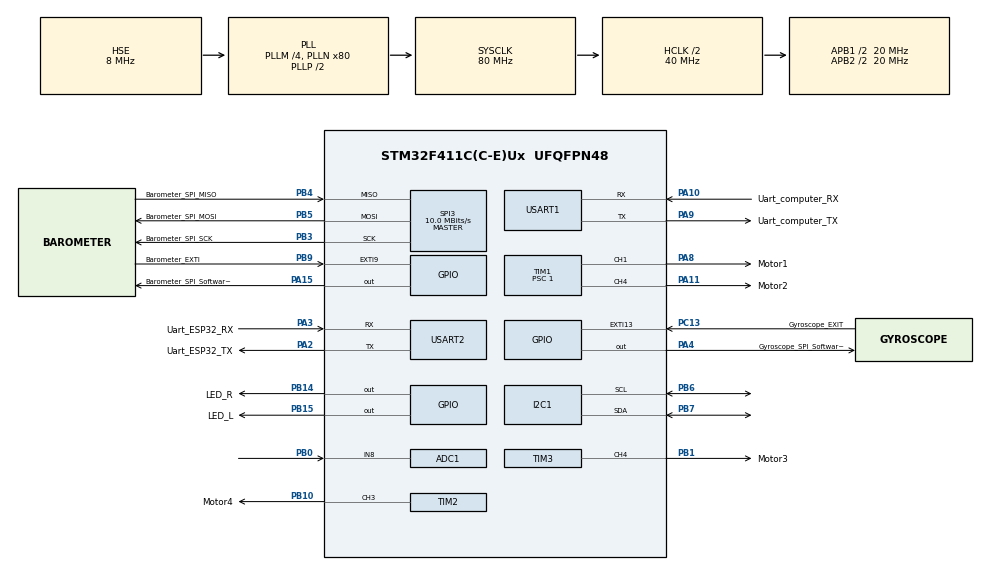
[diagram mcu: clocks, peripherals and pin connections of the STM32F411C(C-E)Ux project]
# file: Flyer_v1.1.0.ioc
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ADC1.Channel-0\#ChannelRegularConversion=ADC_CHANNEL_8
ADC1.NbrOfConversionFlag=1
ADC1.Rank-0\#ChannelRegularConversion=1
ADC1.SamplingTime-0\#ChannelRegularConversion=ADC_SAMPLETIME_3CYCLES
ADC1.master=1
Dma.Request0=USART1_TX
Dma.Request1=USART2_RX
Dma.Request2=USART2_TX
Dma.USART1_TX.0.Direction=DMA_MEMORY_TO_PERIPH
Dma.USART1_TX.0.FIFOMode=DMA_FIFOMODE_ENABLE
Dma.USART1_TX.0.FIFOThreshold=DMA_FIFO_THRESHOLD_FULL
Dma.USART1_TX.0.Instance=DMA2_Stream7
Dma.USART1_TX.0.MemBurst=DMA_MBURST_SINGLE
Dma.USART1_TX.0.MemDataAlignment=DMA_MDATAALIGN_BYTE
Dma.USART1_TX.0.MemInc=DMA_MINC_ENABLE
Dma.USART1_TX.0.Mode=DMA_NORMAL
Dma.USART1_TX.0.PeriphBurst=DMA_PBURST_SINGLE
Dma.USART1_TX.0.PeriphDataAlignment=DMA_PDATAALIGN_BYTE
Dma.USART1_TX.0.PeriphInc=DMA_PINC_DISABLE
Dma.USART1_TX.0.Priority=DMA_PRIORITY_LOW
Dma.USART2_RX.1.Direction=DMA_PERIPH_TO_MEMORY
Dma.USART2_RX.1.FIFOMode=DMA_FIFOMODE_DISABLE
Dma.USART2_RX.1.Instance=DMA1_Stream5
Dma.USART2_RX.1.MemDataAlignment=DMA_MDATAALIGN_BYTE
Dma.USART2_RX.1.MemInc=DMA_MINC_ENABLE
Dma.USART2_RX.1.Mode=DMA_CIRCULAR
Dma.USART2_RX.1.PeriphDataAlignment=DMA_PDATAALIGN_BYTE
Dma.USART2_RX.1.PeriphInc=DMA_PINC_DISABLE
Dma.USART2_RX.1.Priority=DMA_PRIORITY_HIGH
Dma.USART2_TX.2.Direction=DMA_MEMORY_TO_PERIPH
Dma.USART2_TX.2.FIFOMode=DMA_FIFOMODE_ENABLE
Dma.USART2_TX.2.FIFOThreshold=DMA_FIFO_THRESHOLD_HALFFULL
Dma.USART2_TX.2.Instance=DMA1_Stream6
Dma.USART2_TX.2.MemBurst=DMA_MBURST_SINGLE
Dma.USART2_TX.2.MemDataAlignment=DMA_MDATAALIGN_BYTE
Dma.USART2_TX.2.MemInc=DMA_MINC_ENABLE
Dma.USART2_TX.2.Mode=DMA_NORMAL
Dma.USART2_TX.2.PeriphBurst=DMA_PBURST_SINGLE
Dma.USART2_TX.2.PeriphDataAlignment=DMA_PDATAALIGN_BYTE
Dma.USART2_TX.2.PeriphInc=DMA_PINC_DISABLE
Dma.USART2_TX.2.Priority=DMA_PRIORITY_LOW
FREERTOS.Tasks01=POSTURE,24,400,posture_task,Default,NULL,Dynamic,NULL,NULL;SENSOR,24,450,sensor_task,Default,NULL,Dynamic,NULL,NULL;ESP32_RX,8,256,esp32_rx_task,Default,NULL,Dynamic,NULL,NULL;ESP32_TX,8,256,esp32_tx_task,Default,NULL,Dynamic,NULL,NULL
FREERTOS.configENABLE_FPU=1
Mcu.Family=STM32F4
Mcu.Name=STM32F411C(C-E)Ux
Mcu.Package=UFQFPN48
NVIC.DMA1_Stream5_IRQn=true\:5\:0\:false\:false\:true\:true\:false\:true\:true
NVIC.DMA1_Stream6_IRQn=true\:5\:0\:false\:false\:true\:true\:false\:true\:true
NVIC.DMA2_Stream7_IRQn=true\:5\:0\:false\:false\:true\:true\:false\:true\:true
NVIC.PriorityGroup=NVIC_PRIORITYGROUP_4
NVIC.TIM1_UP_TIM10_IRQn=true\:15\:0\:false\:false\:true\:false\:false\:true\:true
NVIC.TimeBase=TIM1_UP_TIM10_IRQn
NVIC.TimeBaseIP=TIM10
NVIC.USART1_IRQn=true\:5\:0\:false\:false\:true\:true\:true\:true\:true
NVIC.USART2_IRQn=true\:5\:0\:false\:false\:true\:true\:true\:true\:true
PA10.GPIO_Label=Uart_computer_RX
PA10.Mode=Asynchronous
PA10.Signal=USART1_RX
PA11.GPIO_Label=Motor2
PA11.Signal=S_TIM1_CH4
PA13.Mode=Serial_Wire
PA13.Signal=SYS_JTMS-SWDIO
PA14.Mode=Serial_Wire
PA14.Signal=SYS_JTCK-SWCLK
PA15.GPIO_Label=Barometer_SPI_Software_NSS
PA15.Signal=GPIO_Output
PA2.GPIO_Label=Uart_ESP32_TX
PA2.Mode=Asynchronous
PA2.Signal=USART2_TX
PA3.GPIO_Label=Uart_ESP32_RX
PA3.Mode=Asynchronous
PA3.Signal=USART2_RX
PA4.GPIO_Label=Gyroscope_SPI_Software_NSS
PA4.Signal=GPIO_Output
PA8.GPIO_Label=Motor1
PA8.GPIO_Speed=GPIO_SPEED_FREQ_HIGH
PA8.Signal=S_TIM1_CH1
PA9.GPIO_Label=Uart_computer_TX
PA9.Mode=Asynchronous
PA9.Signal=USART1_TX
PB0.Signal=ADCx_IN8
PB1.GPIO_Label=Motor3
PB1.Signal=S_TIM3_CH4
PB10.GPIO_Label=Motor4
PB10.Signal=S_TIM2_CH3
PB14.GPIO_Label=LED_R
PB14.PinState=GPIO_PIN_SET
PB14.Signal=GPIO_Output
PB15.GPIO_Label=LED_L
PB15.PinState=GPIO_PIN_SET
PB15.Signal=GPIO_Output
PB3.GPIO_Label=Barometer_SPI_SCK
PB3.Mode=Full_Duplex_Master
PB3.Signal=SPI3_SCK
PB4.GPIO_Label=Barometer_SPI_MISO
PB4.Mode=Full_Duplex_Master
PB4.Signal=SPI3_MISO
PB5.GPIO_Label=Barometer_SPI_MOSI
PB5.Mode=Full_Duplex_Master
PB5.Signal=SPI3_MOSI
PB6.Mode=I2C
PB6.Signal=I2C1_SCL
PB7.Mode=I2C
PB7.Signal=I2C1_SDA
PB9.GPIO_Label=Barometer_EXTI
PB9.Signal=GPXTI9
PC13-ANTI_TAMP.GPIO_Label=Gyroscope_EXIT
PC13-ANTI_TAMP.Signal=GPXTI13
PH0\ -\ OSC_IN.Mode=HSE-External-Oscillator
PH0\ -\ OSC_IN.Signal=RCC_OSC_IN
PH1\ -\ OSC_OUT.Mode=HSE-External-Oscillator
PH1\ -\ OSC_OUT.Signal=RCC_OSC_OUT
ProjectManager.HeapSize=0x200
ProjectManager.StackSize=0x400
ProjectManager.TargetToolchain=MDK-ARM V5.32
RCC.48MHZClocksFreq_Value=40000000
RCC.AHBCLKDivider=RCC_SYSCLK_DIV2
RCC.AHBFreq_Value=40000000
RCC.APB1CLKDivider=RCC_HCLK_DIV2
RCC.APB1Freq_Value=20000000
RCC.APB1TimFreq_Value=40000000
RCC.APB2CLKDivider=RCC_HCLK_DIV2
RCC.APB2Freq_Value=20000000
RCC.APB2TimFreq_Value=40000000
RCC.CortexFreq_Value=40000000
RCC.HCLKFreq_Value=40000000
RCC.HSE_VALUE=8000000
RCC.HSI_VALUE=16000000
RCC.LSE_VALUE=32768
RCC.PLLM=4
RCC.PLLN=80
RCC.PLLSourceVirtual=RCC_PLLSOURCE_HSE
RCC.SYSCLKFreq_VALUE=80000000
RCC.SYSCLKSource=RCC_SYSCLKSOURCE_PLLCLK
RCC.VCOOutputFreq_Value=160000000
SH.ADCx_IN8.0=ADC1_IN8,IN8
SH.S_TIM1_CH1.0=TIM1_CH1,PWM Generation1 CH1
SH.S_TIM1_CH4.0=TIM1_CH4,PWM Generation4 CH4
SH.S_TIM2_CH3.0=TIM2_CH3,PWM Generation3 CH3
SH.S_TIM3_CH4.0=TIM3_CH4,PWM Generation4 CH4
SPI3.CalculateBaudRate=10.0 MBits/s
SPI3.Direction=SPI_DIRECTION_2LINES
SPI3.Mode=SPI_MODE_MASTER
SPI3.VirtualType=VM_MASTER
TIM1.Channel-PWM\ Generation1\ CH1=TIM_CHANNEL_1
TIM1.Channel-PWM\ Generation4\ CH4=TIM_CHANNEL_4
TIM1.Period=999
TIM1.Prescaler=1
TIM2.AutoReloadPreload=TIM_AUTORELOAD_PRELOAD_ENABLE
TIM2.Channel-PWM\ Generation3\ CH3=TIM_CHANNEL_3
TIM2.Period=999
TIM2.Prescaler=1
TIM3.AutoReloadPreload=TIM_AUTORELOAD_PRELOAD_ENABLE
TIM3.Channel-PWM\ Generation4\ CH4=TIM_CHANNEL_4
TIM3.Period=999
TIM3.Prescaler=1
USART1.VirtualMode=VM_ASYNC
USART2.VirtualMode=VM_ASYNC
VP_FREERTOS_VS_CMSIS_V2.Mode=CMSIS_V2
VP_SYS_VS_tim10.Mode=TIM10
VP_TIM1_VS_ClockSourceINT.Mode=Internal
VP_TIM2_VS_ClockSourceINT.Mode=Internal
VP_TIM3_VS_ClockSourceINT.Mode=Internal
board=custom

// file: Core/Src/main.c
/* USER CODE BEGIN Header */
/**
  ******************************************************************************
  * @file           : main.c
  * @brief          : Main program body
  ******************************************************************************
  * @attention
  *
  * Copyright (c) 2025 STMicroelectronics.
  * All rights reserved.
  *
  * This software is licensed under terms that can be found in the LICENSE file
  * in the root directory of this software component.
  * If no LICENSE file comes with this software, it is provided AS-IS.
  *
  ******************************************************************************
  */
/* USER CODE END Header */
#include "main.h"
#include "cmsis_os.h"
#include "adc.h"
#include "dma.h"
#include "i2c.h"
#include "spi.h"
#include "tim.h"
#include "usart.h"
#include "gpio.h"

/* USER CODE BEGIN Includes */
#include "stdio.h"
#include "ICM42688.h"
#include "QMC5883P.h"
#include "LPS22HBTR.h"
#include "AHRS_Mahony.h"
#include "system_params.h"
/* USER CODE END Includes */

/* USER CODE BEGIN PTD */
//宏定义、常量、类型定义
extern UART_HandleTypeDef huart1;
extern lps22hb_t g_lps;
/* USER CODE END PTD */

void SystemClock_Config(void);
void MX_FREERTOS_Init(void);
/* USER CODE BEGIN PFP */
// 后期不需要测试可以删除
static inline HAL_StatusTypeDef ICM_SPI_Xfer(uint8_t *tx, uint8_t *rx, uint16_t len, uint32_t to_ms)
{

    return HAL_SPI_TransmitReceive(&hspi3, tx, rx, len, to_ms);
}
uint8_t SPI_Read_8BIT(uint8_t reg_address, uint8_t* read8bit)
{
    HAL_StatusTypeDef icm_err;
    uint8_t tx_buf[2] = { reg_address | 0x80, 0x00 };
    uint8_t rx_buf[2] = {0};
    HAL_GPIO_WritePin(Barometer_SPI_Software_NSS_GPIO_Port, Barometer_SPI_Software_NSS_Pin, GPIO_PIN_RESET);
    icm_err = ICM_SPI_Xfer(tx_buf, rx_buf, 2, 500);
    HAL_GPIO_WritePin(Barometer_SPI_Software_NSS_GPIO_Port, Barometer_SPI_Software_NSS_Pin, GPIO_PIN_SET);
    if (icm_err != HAL_OK) return 0;
    *read8bit = rx_buf[1];
    return 1;
}
/* USER CODE END PFP */

int main(void)
{

  /* USER CODE BEGIN 1 */
	/* git同步冲突测试点2 */

  /* USER CODE END 1 */
  /* MCU Configuration--------------------------------------------------------*/
  /* Reset of all peripherals, Initializes the Flash interface and the Systick. */
  HAL_Init();

  /* Configure the system clock */
  SystemClock_Config();

  /* Initialize all configured peripherals */
  MX_GPIO_Init();
  MX_DMA_Init();
  MX_ADC1_Init();
  MX_I2C1_Init();
  MX_SPI3_Init();
  MX_USART1_UART_Init();
  MX_USART2_UART_Init();
  MX_TIM1_Init();
  MX_TIM2_Init();
  MX_TIM3_Init();

  /* USER CODE BEGIN 2 */
  usart2_dma_rx_start();	           // 开启DMA 接收中断

  // 读取三个传感器 WHO_AM I 并通过串口输出
  {
    uint8_t id;
    HAL_StatusTypeDef status;

    printf("\r\n===== Sensor WHO_AM_I Check =====\r\n");

    // ICM42688-P (I2C1, addr 0x69)
    ICM_BANK_SWITCH(ICM42688_BANK_SEL_0);
    id = ICM42688_Read_WhoAmI();
    printf("ICM42688-P WHO_AM_I: 0x%02X (expect 0x47) %s\r\n",
           id, (id == 0x47) ? "[OK]" : "[FAIL]");

    // LPS22HBTR/LPS22HH (SPI3)
    status = LPS22HB_ReadWhoAmI(&g_lps, &id);
    if (status == HAL_OK) {
      printf("LPS22HB   WHO_AM_I: 0x%02X (expect 0xB1/0xB3) %s\r\n",
             id, (id == 0xB1 || id == 0xB3) ? "[OK]" : "[FAIL]");
    } else {
      printf("LPS22HB   WHO_AM_I: SPI read failed!\r\n");
    }

    // QMC5883P (I2C1, addr 0x2C)
    if (QMC_ReadChipID(&id) == QMC_OK) {
      printf("QMC5883P  CHIP_ID:  0x%02X (expect 0x80) %s\r\n",
             id, (id == 0x80) ? "[OK]" : "[FAIL]");
    } else {
      printf("QMC5883P  CHIP_ID:  I2C read failed!\r\n");
    }

    printf("==================================\r\n\r\n");
  }

  ICM42688_init();                     // 初始化陀螺仪
  QMC_Init();                          // 初始化磁力计
  Baro_Init();                         // 初始化气压计
  mahony_ahrs_init(2.0f, 0.01f);    // 初始化Mahony AHRS (Kp=2.0, Ki=0.01) - 优化参数
  mahony_set_params(2.0f, 0.01f, 2.0f);  // Kp=2.0, Ki=0.01, Kp_mag=2.0（强磁力计修正）
  /* USER CODE BEGIN 2 */
  {
    QMC5883P_Full_Calibration_t calib = {
      {34.50f, 445.00f, -12.00f},
      {
        {1.1112f, 0.0f, 0.0f},
        {0.0f, 1.0611f, 0.0f},
        {0.0f, 0.0f, 0.8638f}
      },
      1,
      1
    };
    QMC_Set_Full_Calibration(&calib);
  }
  /* USER CODE END 2 */
  motor_all_start();                   //初始化四个电机

#if defined(UART1_SMOKE_TEST) && (UART1_SMOKE_TEST == 1)
  {
    static const uint8_t uart1_smoke_msg[] = "UART1 smoke test 460800\r\n";
    while (1)
    {
      HAL_UART_Transmit(&huart1, (uint8_t *)uart1_smoke_msg, sizeof(uart1_smoke_msg) - 1U, 1000);
      HAL_Delay(500);
    }
  }
#endif

  /* USER CODE END 2 */
  /* Init scheduler */
  osKernelInitialize();  /* Call init function for freertos objects (in cmsis_os2.c) */
  MX_FREERTOS_Init();
  /* Start scheduler */
  osKernelStart();
  /* We should never get here as control is now taken by the scheduler */
  /* Infinite loop */
  while (1)
  {

  }
}

void SystemClock_Config(void)
{
  RCC_OscInitTypeDef RCC_OscInitStruct = {0};
  RCC_ClkInitTypeDef RCC_ClkInitStruct = {0};

  /** Configure the main internal regulator output voltage
  */
  __HAL_RCC_PWR_CLK_ENABLE();
  __HAL_PWR_VOLTAGESCALING_CONFIG(PWR_REGULATOR_VOLTAGE_SCALE1);

  /** Initializes the RCC Oscillators according to the specified parameters
  * in the RCC_OscInitTypeDef structure.
  */
  RCC_OscInitStruct.OscillatorType = RCC_OSCILLATORTYPE_HSE;
  RCC_OscInitStruct.HSEState = RCC_HSE_ON;
  RCC_OscInitStruct.PLL.PLLState = RCC_PLL_ON;
  RCC_OscInitStruct.PLL.PLLSource = RCC_PLLSOURCE_HSE;
  RCC_OscInitStruct.PLL.PLLM = 4;
  RCC_OscInitStruct.PLL.PLLN = 80;
  RCC_OscInitStruct.PLL.PLLP = RCC_PLLP_DIV2;
  RCC_OscInitStruct.PLL.PLLQ = 4;
  if (HAL_RCC_OscConfig(&RCC_OscInitStruct) != HAL_OK)
  {
    Error_Handler();
  }

  /** Initializes the CPU, AHB and APB buses clocks
  */
  RCC_ClkInitStruct.ClockType = RCC_CLOCKTYPE_HCLK|RCC_CLOCKTYPE_SYSCLK
                              |RCC_CLOCKTYPE_PCLK1|RCC_CLOCKTYPE_PCLK2;
  RCC_ClkInitStruct.SYSCLKSource = RCC_SYSCLKSOURCE_PLLCLK;
  RCC_ClkInitStruct.AHBCLKDivider = RCC_SYSCLK_DIV2;
  RCC_ClkInitStruct.APB1CLKDivider = RCC_HCLK_DIV2;
  RCC_ClkInitStruct.APB2CLKDivider = RCC_HCLK_DIV2;

  if (HAL_RCC_ClockConfig(&RCC_ClkInitStruct, FLASH_LATENCY_1) != HAL_OK)
  {
    Error_Handler();
  }
}

/* USER CODE BEGIN 4 */
void mag_pure_yaw_test(void)
{
    QMC5883P_Raw_Data_t raw_data, cal_data;
    float yaw_deg;
    float mag_strength_raw, mag_strength_cal;
    uint32_t last_print_time = 0;

    printf("\r\n");
    printf("===============================================\r\n");
    printf("        纯磁力计Yaw角测试\r\n");
    printf("===============================================\r\n\r\n");

    printf("测试说明：\r\n");
    printf("  - 只使用磁力计X/Y轴计算Yaw角\r\n");
    printf("  - 飞机保持水平，缓慢旋转360度\r\n");
    printf("  - 观察Yaw角是否平滑变化0~360度\r\n");
    printf("  - 按复位键退出测试\r\n\r\n");

    printf("开始测试...\r\n");
    printf("━━━━━━━━━━━━━━━━━━━━━━━━━━━━━━━━━━━━━━━━━━━━\r\n\r\n");

    HAL_Delay(1000);

    // 无限循环测试
    for(;;) {
        // 读取磁力计数据
        if(QMC_Read_Raw_DATA(&raw_data) == QMC_OK) {
            QMC_Read_Full_Calibrated_DATA(&cal_data);

            // 计算原始和校准后的磁场强度
            mag_strength_raw = sqrtf(raw_data.X * raw_data.X +
                                     raw_data.Y * raw_data.Y +
                                     raw_data.Z * raw_data.Z) * 0.000244140625f;

            mag_strength_cal = sqrtf(cal_data.X * cal_data.X +
                                     cal_data.Y * cal_data.Y +
                                     cal_data.Z * cal_data.Z) * 0.000244140625f;

            // 将磁力计数据转换到机体系（机体X←-MAG.Y，机体Y←MAG.X）
            float mag_x_body = (float)cal_data.X;
            float mag_y_body = -(float)cal_data.Y;

            // 使用机体系的X/Y计算Yaw角（水平面内的方位角）
            yaw_deg = atan2f(mag_y_body, mag_x_body) * 57.2957795f;  // rad to deg

            // 归一化到0~360度
            if(yaw_deg < 0.0f) {
                yaw_deg += 360.0f;
            }

            // 每200ms打印一次
            uint32_t current_time = HAL_GetTick();
            if((current_time - last_print_time) >= 200) {
                printf("原始: [%5d, %5d, %5d] %.3f G | ",
                       raw_data.X, raw_data.Y, raw_data.Z, mag_strength_raw);
                printf("校准: [%5d, %5d, %5d] %.3f G | ",
                       cal_data.X, cal_data.Y, cal_data.Z, mag_strength_cal);
                printf("Yaw: %6.1f°", yaw_deg);

                // 质量指示
                if(mag_strength_cal < 0.25f) {
                    printf(" [!] 磁场太弱");
                } else if(mag_strength_cal > 0.65f) {
                    printf(" [!] 磁场太强");
                } else {
                    printf(" [OK]");
                }

                printf("\r\n");
                last_print_time = current_time;
            }
        }

        HAL_Delay(10);
    }
}

/* USER CODE END 4 */

void HAL_TIM_PeriodElapsedCallback(TIM_HandleTypeDef *htim)
{
  if (htim->Instance == TIM10)
  {
    HAL_IncTick();
  }
}

void Error_Handler(void)
{
  __disable_irq();
  while (1)
  {
  }
}

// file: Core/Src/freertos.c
/* USER CODE BEGIN Header */
/* USER CODE END Header */

#include "FreeRTOS.h"
#include "task.h"
#include "main.h"
#include "cmsis_os.h"
/* USER CODE BEGIN Includes */
#include <cmsis_os2.h>  // 添加CMSIS-RTOS2头文件
#include "IMUsolution.h"
#include "ICM42688.h"
#include "QMC5883P.h"
#include "AHRS_Mahony.h"
#include "usart.h"
#include "dma.h"
#include "pid.h"
#include "system_params.h"
#include "filter.h"  // 低通滤波器
#include "string.h"
#include "stdio.h"
#include "stdint.h"
#include "math.h"
#include "tim.h"
/* USER CODE END Includes */

/* -------------------------------------Private typedef ---------------------------------------------------*/
/* USER CODE BEGIN PTD */
//宏定义、常量、类型定义
typedef struct                   // 定义传感器数据结构体（修正字段名）
{
    ICM42688_Raw_Data_t icm;     // 加速度计和陀螺仪数据
    QMC5883P_Raw_Data_t qmc;     // 磁力计数据
    int32_t Pressure;            // 气压计数据
} sensor_data_t;

extern system_params_t g_system_params;
extern CascadedPIDParams g_runtime_pid ;
extern UART_HandleTypeDef huart2;
extern UART_HandleTypeDef huart1;  // VOFA+使用UART1
extern uint8_t USART1_DMA_TX_ready;
// extern ring_queue_t queue_rx;   //不再使用它了
extern uint8_t dma_rx_buf[DMA_RX_BUF_SIZE];
extern CommandList cmd_table[CommandList_MAX];
/* USER CODE END PTD */

/* USER CODE BEGIN PD */
//变量声明、函数原型声明
float pitch, row, yaw;
uint32_t err_times = 0;
HAL_UART_StateTypeDef uart_status;
/* USER CODE END PD */

/* USER CODE BEGIN PM */
#define QUICK_TEST 0
#define PWM_MIN   0
#define PWM_MAX   999 //根据真实PWM周期改这个范围（ARR=999, 0-999全量程）
/* USER CODE END PM */

/* USER CODE BEGIN Variables */
ICM42688_Raw_Data_t icm_raw_data;
QMC5883P_Raw_Data_t qmc_raw_data;
// PID 闭环状态
attitude_data_t g_attitude_data = {0};
volatile attitude_data_t g_attitude = {0};
AxisCascadedState_t g_pid_state = {0};
/* USER CODE END Variables */
/* Definitions for POSTURE */
/* osThreadAttr_t 结构体和 osPriority_t 枚举属于 CMSIS-RTOS2 标准接口 */
osThreadId_t POSTUREHandle;
const osThreadAttr_t POSTURE_attributes = {
  .name = "POSTURE",
  .stack_size = 400 * 4,
  .priority = (osPriority_t) osPriorityNormal,
};
/* Definitions for SENSOR */
osThreadId_t SENSORHandle;											  //声明了一个任务句柄变量，用于后续操作该任务（例如启动、挂起、删除任务）。
const osThreadAttr_t SENSOR_attributes =                              //定义了任务的属性结构体，包含以下关键配置
	{
  .name = "SENSOR",                                                   //任务名称标识
  .stack_size = 450 * 4,
  .priority = (osPriority_t) osPriorityNormal,
};
/* Definitions for ESP32_RX */
osThreadId_t ESP32_RXHandle;
const osThreadAttr_t ESP32_RX_attributes = {
  .name = "ESP32_RX",
  .stack_size = 256 * 4,
  .priority = (osPriority_t) osPriorityNormal ,
};
/* Definitions for ESP32_TX */
osThreadId_t ESP32_TXHandle;
const osThreadAttr_t ESP32_TX_attributes = {
  .name = "ESP32_TX",
  .stack_size = 256 * 4,
  .priority = (osPriority_t) osPriorityLow,
};

osThreadId_t PID_UpdateHandle;
const osThreadAttr_t PID_Update_attributes = {
  .name       = "PID_Update",
  .stack_size = 512 * 4,                    // 2KB 避免栈溢出
  .priority   = (osPriority_t)osPriorityLow // 和 ESP32_RX 差不多就行
};

osThreadId_t MANEUVERHandle;
const osThreadAttr_t MANEUVER_attributes = {
  .name = "MANEUVER",
  .stack_size = 640 * 4,              // 200Hz 内外环分频需要更多局部变量
  .priority = (osPriority_t)osPriorityAboveNormal,  // 控制输出建议略高于RX/PID保存
};
/* USER CODE BEGIN FunctionPrototypes */
// 全局tx消息队列
osMessageQueueId_t g_txQueueHandle;
const osMessageQueueAttr_t g_txQueue_attributes = {
  .name = "globle_tx"
};

osMessageQueueId_t g_rxQueueHandle;
const osMessageQueueAttr_t g_rxQueue_attributes = {
  .name = "globle_rx"
};

osMessageQueueId_t joystickQueueHandle;
const osMessageQueueAttr_t joystickQueue_attributes = {
  .name = "joystick"
};

// 全局传感器数据队列句柄
osMessageQueueId_t sensorQueueHandle;
const osMessageQueueAttr_t sensorQueue_attributes = {
    .name = "sensor_data_queue"
};

osMessageQueueId_t pidUpdateQueueHandle;             //用于PID参数的更新
const osMessageQueueAttr_t pidUpdateQueue_attributes = {
  .name = "pid_update"
};

osMessageQueueId_t rcCmdQueueHandle;
const osMessageQueueAttr_t rcCmdQueue_attributes = {
  .name = "rc_cmd"
};

/* USER CODE END FunctionPrototypes */

void posture_task(void *argument);
void sensor_task(void *argument);
void esp32_rx_task(void *argument);
void esp32_tx_task(void *argument);
void pid_update_task(void *argument);
void maneuver_task(void *argument);
void MX_FREERTOS_Init(void); /* (MISRA C 2004 rule 8.1) */

static inline uint16_t pwm_from_01(float t01)
{
  if (t01 < 0) t01 = 0;
  if (t01 > 1) t01 = 1;
  return (uint16_t)(PWM_MIN + t01 * (PWM_MAX - PWM_MIN));
}

void MX_FREERTOS_Init(void)
{
  /* USER CODE BEGIN Init */
  SystemParams_Init();
  PID_LoadFromParams();
  /* USER CODE END Init */
  /* USER CODE BEGIN RTOS_QUEUES */
  /* add queues, ... */
  g_txQueueHandle = osMessageQueueNew (32, sizeof(g_msg_t),
	  &g_txQueue_attributes);
  g_rxQueueHandle = osMessageQueueNew (32, sizeof(g_msg_t),
	  &g_rxQueue_attributes);
  //joystickQueueHandle = osMessageQueueNew(16, sizeof(joystick_t), &g_rxQueue_attributes);
  joystickQueueHandle = osMessageQueueNew(16, sizeof(joystick_t),
	  &joystickQueue_attributes);
  sensorQueueHandle = osMessageQueueNew(10, sizeof(sensor_data_t),
	  &sensorQueue_attributes); // 创建全局传感器数据队列
  pidUpdateQueueHandle = osMessageQueueNew(6, sizeof(pid_update_msg_t),
	  &pidUpdateQueue_attributes);
  rcCmdQueueHandle = osMessageQueueNew(8, sizeof(rc_cmd_t),
	  &rcCmdQueue_attributes);//遥控是“最新值覆盖旧值”的典型场景，没必要堆很多深度

	/* USER CODE END RTOS_QUEUES */
  /* Create the thread(s) */
  /* creation of POSTURE */
  POSTUREHandle = osThreadNew(posture_task, NULL, &POSTURE_attributes);
  /* creation of SENSOR */
  SENSORHandle = osThreadNew(sensor_task, NULL, &SENSOR_attributes);
  /* creation of ESP32_RX */
  ESP32_RXHandle = osThreadNew(esp32_rx_task, NULL, &ESP32_RX_attributes);
  /* creation of ESP32_TX */
//  ESP32_TXHandle = osThreadNew(esp32_tx_task, NULL, &ESP32_TX_attributes);
  /* USER CODE BEGIN RTOS_THREADS */
  /* add threads, ... */
  PID_UpdateHandle = osThreadNew(pid_update_task, NULL, &PID_Update_attributes);
  /* USER CODE END RTOS_THREADS */

  /* USER CODE BEGIN RTOS_EVENTS */
  /* add events, ... */
  MANEUVERHandle = osThreadNew(maneuver_task, NULL, &MANEUVER_attributes);
  /* USER CODE END RTOS_EVENTS */

}

/* USER CODE BEGIN Header_posture_task */
/**
 * @brief 用于更新——运行时该用什么样的PID参数呢？通过这个任务更新
 * @param
 * @param
 * @retval
*/
void pid_update_task(void *argument)
{
    pid_update_msg_t msg_from_queue;//消息结构体变量，用于接收从队列中获取的PID更新消息

    for (;;)/*所以，这个任务大部分时间是在“睡觉”的。 只有当你通过串口发 PID 参数、setXXXPIDparameter 往队列里塞了一条消息，它才会醒一次。*/
    {
        if (osMessageQueueGet(pidUpdateQueueHandle, &msg_from_queue, NULL, 10) == osOK)//从队列拿ESp32发来的新参数
        {
            // 1）更新运行时 PID
            AxisPID *runtime_pid = NULL;   // (里面是一个轴的六个增益)
            float   *flash_slot  = NULL;   // 指向 g_system_params 里对应位置

            switch (msg_from_queue.axis)//根据“这条消息是哪一个轴的”，把“待会需要修改的运行时 PID 地址”和“待会要写进 Flash 数组的起始地址”都计算出来。
            {
            case PID_AXIS_ROLL:
                runtime_pid = &g_runtime_pid.roll;//也就是说运行时PID先由这个g_runtime_pid提供，这有必要吗？g_system_params结构体不是已经有用于储存轴增益的数组了吗？
			    flash_slot  = &g_system_params.bank[PID_BANK_ROLL][0];//将flash_slot赋值为g_system_params结构体对应轴的增益数组初始位地址
                break;

            case PID_AXIS_PITCH:
                runtime_pid = &g_runtime_pid.pitch;
                flash_slot  =  &g_system_params.bank[PID_BANK_PITCH][0];
                break;

            case PID_AXIS_YAW:
                runtime_pid = &g_runtime_pid.yaw;
                flash_slot  = &g_system_params.bank[PID_BANK_YAW][0];
                break;

            default:
                break;
            }

            if (runtime_pid && flash_slot)/*如果上面的 switch 没有匹配到任何一个 case，两个指针会保持为 NULL；那肯定说明 msg.axis 是无效的值，继续下面的代码就会野指针；
                                           所以这里做了一层防御性检查：只要有一个为空，就直接跳过这次循环。*/
            {
                *runtime_pid = msg_from_queue.pid;						// 更新运行时 PID
                axisPID_to_bank_slot(flash_slot, &msg_from_queue.pid);  // 映射到 g_system_params 中（如果你有更直观的字段，这里改成赋值结构体即可）
                if (!SystemParams_Save())
                {
                    printf("[PID] SystemParams_Save FAILED!\r\n");
                }
                else
                {
                    printf("[PID] Updated axis=%d: "
                           "Ang(P=%.3f,I=%.3f,D=%.3f)  "
                           "Rate(P=%.3f,I=%.3f,D=%.3f)\r\n",
                           msg_from_queue.axis,
                           msg_from_queue.pid.kp_angle, msg_from_queue.pid.ki_angle, msg_from_queue.pid.kd_angle,
                           msg_from_queue.pid.kp_rate,  msg_from_queue.pid.ki_rate, msg_from_queue.pid.kd_rate);
                }
            }
        }
	//printf("p\r\n");
	//HAL_GPIO_TogglePin(GPIOB,GPIO_PIN_14);
	osDelay(10);
    }
}
/**
  * @brief  姿态解算
  * @param  argument: Not used
  * @retval None
  */
/* USER CODE END Header_posture_task */
void posture_task(void *argument)
{
  /* USER CODE BEGIN posture_task */
	sensor_data_t sensor_packet;
	float roll, pitch, yaw;  // 欧拉角

	printf("[POSTURE] Task started - AHRS enabled\r\n");
	mahony_set_sample_period(0.005f);  // 匹配实际 50Hz 调用频率

  /* Infinite loop */
  uint32_t wake_time = osKernelGetTickCount();
  for(;;)
  {
		// 从传感器队列获取滤波后的数据
		if(osMessageQueueGet(sensorQueueHandle, &sensor_packet, 0, 5) == osOK)
		{
			// ========== 调用Mahony AHRS进行姿态解算 ==========
			// 将完整ICM数据转换为AHRS需要的分离结构体
			ICM42688_Acc_Raw_Data_t acc_data = {
				.accel_x = sensor_packet.icm.accel_x,
				.accel_y = sensor_packet.icm.accel_y,
				.accel_z = sensor_packet.icm.accel_z
			};
			ICM42688_Gyro_Raw_Data_t gyro_data = {
				.gyro_x = sensor_packet.icm.gyro_x,
				.gyro_y = sensor_packet.icm.gyro_y,
				.gyro_z = sensor_packet.icm.gyro_z
			};

			// 调用AHRS更新（包含磁力计）
			mahony_ahrs_update_mag(&acc_data, &gyro_data, &sensor_packet.qmc);

			// 获取欧拉角
			mahony_get_euler(&roll, &pitch, &yaw);

			// 写入全局姿态数据供 PID 控制环使用
			sensor_check_data_t check;
			mahony_get_sensor_check_data(&check);
			g_attitude_data.euler[0] = roll;
			g_attitude_data.euler[1] = pitch;
			g_attitude_data.euler[2] = yaw;
			g_attitude_data.gyro_dps[0] = check.gyro_dps[0];  // roll 轴
			g_attitude_data.gyro_dps[1] = check.gyro_dps[1];  // pitch 轴
			g_attitude_data.gyro_dps[2] = check.gyro_dps[2];  // yaw 轴
			// 原子更新 volatile 全局变量
			__disable_irq();
			g_attitude = g_attitude_data;
			__enable_irq();

			// 输出姿态数据用于数据采集
			printf("ATT,%.3f,%.3f,%.3f,%.3f,%.3f,%.3f\r\n",
			       roll, pitch, yaw,
			       g_attitude_data.gyro_dps[0],
			       g_attitude_data.gyro_dps[1],
			       g_attitude_data.gyro_dps[2]);

			// ========== 原有代码（已注释，可选择性启用）==========
			#if 0
			// 使用传感器数据进行姿态解算（这里需要调用实际的姿态解算函数）
			// 示例：MahonyAHRSupdate(gyro, accel, mag);
			quat_moni.q0 =sensor_packet.icm.accel_x;
			quat_moni.q1 =sensor_packet.icm.accel_y;
			quat_moni.q2 =sensor_packet.icm.accel_z;
			quat_moni.q3 =sensor_packet.icm.gyro_x;
			quat_moni.q4 =sensor_packet.icm.gyro_y;
			quat_moni.q5=sensor_packet.icm.gyro_z;
			quat_moni.q6=sensor_packet.qmc.X;
			quat_moni.q7=sensor_packet.qmc.Y;
			quat_moni.q8=sensor_packet.qmc.Z;
			quat_moni.q9=sensor_packet.Pressure;
			char buffer[256];
            snprintf(buffer, sizeof(buffer), "icm.accel : %.3f,%.3f,%.3f,\r\n,icm.gyro : %.3f,%.3f,%.3f,\r\n,qmc : %.3f,%.3f,%.3f,\r\n Pre : %d\r\n",
                     quat_moni.q0, quat_moni.q1, quat_moni.q2, quat_moni.q3,quat_moni.q4,quat_moni.q5,quat_moni.q6,quat_moni.q7,quat_moni.q8,quat_moni.q9);
            HAL_UART_Transmit(&huart1, (uint8_t*)buffer, strlen(buffer), 100);
			HAL_UART_Transmit(&huart1,"posture_task\r\n",15,10);
			// 发送姿态数据到VOFA
			//g_tx_enqueue_raw(0x01, (uint8_t*)&quat, sizeof(quat));
			#endif
		}
		wake_time += 5;  // 200Hz period
		osDelayUntil(wake_time);
  }
  /* USER CODE END posture_task */
}

/* USER CODE BEGIN Header_sensor_task */
/**
* @brief 读取传感器数据
* @param argument: Not used
* @retval None
*/
/* USER CODE END Header_sensor_task */
void sensor_task(void *argument)
{
  /* USER CODE BEGIN sensor_task */
  /* Infinite loop */
	// 代码思路：	在sensor_task这个任务中读取传感器数据
	// 						然后通过消息队列去给不同的任务传递数据

	// ========== 初始化低通滤波器 ==========
	// 陀螺仪滤波器 (alpha=0.8, 快速响应)
	LowPassFilter_t gyro_x_filter, gyro_y_filter, gyro_z_filter;
	LowPassFilter_Init(&gyro_x_filter, 0.8f);
	LowPassFilter_Init(&gyro_y_filter, 0.8f);
	LowPassFilter_Init(&gyro_z_filter, 0.8f);

	// 加速度计滤波器 (alpha=0.5, 适中)
	LowPassFilter_t accel_x_filter, accel_y_filter, accel_z_filter;
	LowPassFilter_Init(&accel_x_filter, 0.5f);
	LowPassFilter_Init(&accel_y_filter, 0.5f);
	LowPassFilter_Init(&accel_z_filter, 0.5f);

	// 磁力计滤波器 (alpha=0.3, 适中)
	LowPassFilter_t mag_x_filter, mag_y_filter, mag_z_filter;
	LowPassFilter_Init(&mag_x_filter, 0.3f);
	LowPassFilter_Init(&mag_y_filter, 0.3f);
	LowPassFilter_Init(&mag_z_filter, 0.3f);

	printf("[SENSOR] 滤波器初始化完成\r\n");
	printf("[SENSOR] 陀螺仪滤波系数: %.2f\r\n", 0.8f);
	printf("[SENSOR] 加速度计滤波系数: %.2f\r\n", 0.5f);
	printf("[SENSOR] 磁力计滤波系数: %.2f\r\n", 0.3f);

  uint32_t wake_time = osKernelGetTickCount();
  for(;;)
  {
	// ========== 1. 读取ICM42688原始数据 ==========
	// ICM_GET_Average_Raw_data做了1次采样
	ICM_GET_Average_Raw_data(&icm_raw_data, 1);

	// ========== 2. 应用低通滤波 ==========
	// 陀螺仪滤波
	float gyro_x_filtered = LowPassFilter_Update(&gyro_x_filter,
		(float)icm_raw_data.gyro_x);
	float gyro_y_filtered = LowPassFilter_Update(&gyro_y_filter,
		(float)icm_raw_data.gyro_y);
	float gyro_z_filtered = LowPassFilter_Update(&gyro_z_filter,
		(float)icm_raw_data.gyro_z);

	// 加速度计滤波
	float accel_x_filtered = LowPassFilter_Update(&accel_x_filter,
		(float)icm_raw_data.accel_x);
	float accel_y_filtered = LowPassFilter_Update(&accel_y_filter,
		(float)icm_raw_data.accel_y);
	float accel_z_filtered = LowPassFilter_Update(&accel_z_filter,
		(float)icm_raw_data.accel_z);

	// ========== 3. 读取磁力计（使用完整校准） ==========
	// 优先使用完整校准函数（硬铁+软铁），如果没有校准则使用原始数据
	QMC_StatusTypeDef qmc_status = QMC_Read_Full_Calibrated_DATA(&qmc_raw_data);
	if(qmc_status != QMC_OK)
	{
		// 如果完整校准读取失败，尝试使用基础校准
		qmc_status = QMC_Read_Calibrated_Raw_DATA(&qmc_raw_data);
		if(qmc_status != QMC_OK)
		{
			// 如果基础校准也失败，使用原始数据
			QMC_Read_Raw_DATA(&qmc_raw_data);
		}
	}

	// 磁力计滤波
	float mag_x_filtered = LowPassFilter_Update(&mag_x_filter, (float)qmc_raw_data.X);
	float mag_y_filtered = LowPassFilter_Update(&mag_y_filter, (float)qmc_raw_data.Y);
	float mag_z_filtered = LowPassFilter_Update(&mag_z_filter, (float)qmc_raw_data.Z);

	// ========== 4. 打包滤波后的传感器数据 ==========

    sensor_data_t sensor_packet =
	{
        .icm = {
			.accel_x = (int16_t)accel_x_filtered,
			.accel_y = (int16_t)accel_y_filtered,
			.accel_z = (int16_t)accel_z_filtered,
			.gyro_x = (int16_t)gyro_x_filtered,
			.gyro_y = (int16_t)gyro_y_filtered,
			.gyro_z = (int16_t)gyro_z_filtered
		},
        .qmc = {
			.X = (int16_t)mag_x_filtered,
			.Y = (int16_t)mag_y_filtered,
			.Z = (int16_t)mag_z_filtered
		},
        .Pressure = 0
    };

    // ========== 5. 发送到传感器队列 ==========
    osMessageQueuePut(sensorQueueHandle, &sensor_packet, 0, 0);

    // ========== 6. 周期延时 ==========
    wake_time += 5;  // 200Hz period
    osDelayUntil(wake_time);
	// printf("sensor_task\r\n");
  }
  /* USER CODE END sensor_task */
}

/* USER CODE BEGIN Header_esp32_rx_task */
/**
* @brief 接收ESP32的串口数据, 比如接收传来的PID参数
* @param argument: Not used
* @retval None
* @introduce 从 queue_rx 里一字节一字节读出数据，按自定义协议拼成数据帧，校验后
根据 CMD 分发给对应的处理函数。
注意！！！由于DMA的缓冲区大小有限，本任务的osDelay()不能太低，否则会导致来不及处理
缓冲区里面最新的字节(因为会被esp32发来的数据覆盖掉)
*/
/* USER CODE END Header_esp32_rx_task */
void esp32_rx_task(void *argument)
{
  /* USER CODE BEGIN esp32_rx_task */
enum { S_WAIT_H, S_CMD, S_LEN, S_DATA, S_SUM, S_TAIL
	}st = S_WAIT_H;//定义枚举变量，并且赋初始值

    uint8_t  cmd = 0, len = 0, sum_rx = 0;
    uint8_t  data[(MAX_FRAME_LEN > 200) ? 200 : MAX_FRAME_LEN];
    uint8_t  pos = 0;
    uint16_t sum_calc = 0;

    // 1s 心跳（可选）
    uint32_t last_beat = osKernelGetTickCount();

    for (;;)
    {
        uint8_t b;
        int got = 0;

        // 单次最多处理 N 个字节，避免饿死其他任务
        uint16_t budget = 256;

        while (budget-- && uart2_rx_getc(&b))//如果还在单次允许处理的最大字
		//节量内，并且有新的字节返回
        {
            got = 1;

            switch (st)
            {
            case S_WAIT_H:
                if (b == FRAME_HEADER) {
                    st = S_CMD;
                    pos = 0;
                    sum_calc = 0;
                }
                break;

            case S_CMD:
                cmd = b;
		//printf("cmd:%d\r\n",cmd);
                sum_calc = cmd;
                st = S_LEN;
                break;

            case S_LEN:
                len = b;
                sum_calc += len;

                if (len > sizeof(data)) {
                    st = S_WAIT_H;
                    pos = 0;
                    break;
                }
                pos = 0;
                if (len == 0) {
                    // 数据长度为0，直接跳转到校验和状态
                    st = S_SUM;
                } else {
                    st = S_DATA;
                }
                break;

            case S_DATA:
                data[pos++] = b;
                sum_calc += b;
                if (pos >= len) st = S_SUM;
                break;

            case S_SUM:
                sum_rx = b;
                st = S_TAIL;
                break;

            case S_TAIL:
                if (b != FRAME_TAIL)
		{
                    st = S_WAIT_H;
                    pos = 0;
                    break;
                }
                if (((uint8_t)sum_calc) != sum_rx) {
                    st = S_WAIT_H;
                    pos = 0;
                    break;
                }
		printf("[RX_OK] cmd=%u len=%u\r\n", cmd, len);
                if (cmd < CommandList_MAX && cmd_table[cmd].func_handler)
		{
                    cmd_table[cmd].func_handler(cmd, data, len);
			//printf("cmd:%d\r\n",cmd);
                }
                st = S_WAIT_H;
                pos = 0;
                break;

            default:
                st = S_WAIT_H;
                pos = 0;
                break;
            }
        }

        // 心跳：每秒一次（可选）
        uint32_t now = osKernelGetTickCount();
        if ((now - last_beat) >= 1000) {
            // printf("esp32_rx_task alive\r\n"); // 建议先别开，或改成计数输出
            last_beat = now;
        }

        // 没拿到数据就睡一下；拿到数据但预算用完了，也让出一下 CPU
        if (!got) {
            osDelay(1);
        } else {
            osDelay(0); // 或 taskYIELD(); 让其他同优先级任务跑一下
        }
	//HAL_UART_Transmit_DMA(&huart1,"&",1);
    }
  /* USER CODE END esp32_rx_task */
}

/* USER CODE BEGIN Header_esp32_tx_task */
/**
* @brief 把数据通过串口发送给ESP32
* @param argument: Not used
* @retval None
*/
/* USER CODE END Header_esp32_tx_task */
void esp32_tx_task(void *argument)
{
  /* USER CODE BEGIN esp32_tx_task */
	g_msg_t msg;// 定义一个全局串口消息的结构体变量
  for(;;)
  {
		// 测试接收端 esp32_rx_task 所以把下面的数据注释了
		if(osMessageQueueGet(g_txQueueHandle, &msg, 0, 0) == osOK)//从全局串口消息队列中获取一个消息
		{
			if (esp_send_from_msg(&msg) != ESP32_TX_Success)
			{
				printf("esp send error\r\n");
			}
			// 每次获取完队列都要释放内存
			free_frame_slot(&msg);
		}
		printf("esp32_tx_task\r\n");
		osDelay(3000);//这里能不能再降？目前数据流动慢，vofa延迟高
  }
  /* USER CODE END esp32_tx_task */
}

/* USER CODE BEGIN Application */
void maneuver_task(void *argument)
{
  rc_cmd_t rc = {0};
  uint32_t last_rc_tick = 0;

  // 姿态熔断保护
  #define FUSE_ANGLE_LIMIT  45.0f   // 超过此角度触发计数
  #define FUSE_COUNT_LIMIT  200     // 持续 200 个周期 (1s@200Hz) 触发熔断
  static int16_t fuse_count = 0;
  static uint8_t fuse_tripped = 0;

  // PID 控制参数
  #define MAX_ANGLE   25.0f    // 摇杆满偏对应最大倾斜角（度）
  #define MAX_RATE    200.0f   // yaw 摇杆满偏对应最大偏航速率（度/秒）
  #define ANGLE_DT    0.02f   // 外环 50Hz 控制周期
  #define RATE_DT     0.005f  // 内环 200Hz 控制周期
  #define PID_RATE_OUT_MAX 80.0f  // 角速度环输出上限

  // 外环输出的 rate setpoint（在调用间保持）
  float roll_rate_sp  = 0.0f;
  float pitch_rate_sp = 0.0f;
  float yaw_rate_sp   = 0.0f;

  uint32_t cycle_count = 0;
  uint32_t wake_time = osKernelGetTickCount();

  for (;;)
  {
    // 1) 拉最新遥控
    rc_cmd_t tmp;
    if (osMessageQueueGet(rcCmdQueueHandle, &tmp, NULL, 1) == osOK) {
      rc = tmp;
      last_rc_tick = rc.tick;
    }

    // 2) 遥控失联保护
    uint32_t now = HAL_GetTick();
    if ((now - last_rc_tick) > 5000) {
      rc.throttle = 0.0f;
      rc.roll = rc.pitch = rc.yaw = 0.0f;
    }

    // 3) 电机测试模式下跳过 PID 控制
    extern volatile uint8_t g_motor_test_active;
    if (g_motor_test_active) {
        wake_time += 5;
        osDelayUntil(wake_time);
        continue;
    }

    // 4) 读取当前姿态（原子拷贝）
    attitude_data_t att;
    __disable_irq();
    att = g_attitude;
    __enable_irq();

    // 5) RC 命令映射为目标值
    float roll_angle_sp  = rc.roll  * MAX_ANGLE;
    float pitch_angle_sp = rc.pitch * MAX_ANGLE;
    float yaw_rate_sp_rc = rc.yaw   * MAX_RATE;

    // 6) 外环角度 PID：每 4 个周期运行一次 (50Hz)
    if ((cycle_count & 0x03) == 0) {
        // 姿态熔断检查
        if (fuse_tripped) {
            if (rc.throttle <= 0.001f) {
                fuse_tripped = 0;
                fuse_count = 0;
            }
        } else {
            if (fabsf(att.euler[0]) > FUSE_ANGLE_LIMIT || fabsf(att.euler[1]) > FUSE_ANGLE_LIMIT) {
                fuse_count++;
                if (fuse_count >= FUSE_COUNT_LIMIT) {
                    fuse_tripped = 1;
                }
            } else {
                fuse_count = 0;
            }
        }

        if (fuse_tripped) {
            rc.throttle = 0.0f;
            rc.roll = rc.pitch = rc.yaw = 0.0f;
            roll_angle_sp = pitch_angle_sp = 0.0f;
            yaw_rate_sp_rc = 0.0f;
        }

        // 原子拷贝 PID 参数
        CascadedPIDParams pid;
        __disable_irq();
        pid = g_runtime_pid;
        __enable_irq();

        // 外环角度 PID → 输出 rate setpoint
        roll_rate_sp  = PID_Calculate(&g_pid_state.roll.angle,
                                       pid.roll.kp_angle, pid.roll.ki_angle, pid.roll.kd_angle,
                                       roll_angle_sp, att.euler[0],
                                       ANGLE_DT,
                                       -500.0f, 500.0f,
                                       0.5f);
        pitch_rate_sp = PID_Calculate(&g_pid_state.pitch.angle,
                                       pid.pitch.kp_angle, pid.pitch.ki_angle, pid.pitch.kd_angle,
                                       pitch_angle_sp, att.euler[1],
                                       ANGLE_DT,
                                       -500.0f, 500.0f,
                                       0.5f);
        yaw_rate_sp = yaw_rate_sp_rc;  // yaw 无角度环，直接用 RC 速率指令
    }

    // 7) 内环角速度 PID：每个周期运行 (200Hz)
    // 原子拷贝 PID 参数
    CascadedPIDParams pid;
    __disable_irq();
    pid = g_runtime_pid;
    __enable_irq();

    float roll_corr  = PID_Calculate(&g_pid_state.roll.rate,
                                      pid.roll.kp_rate, pid.roll.ki_rate, pid.roll.kd_rate,
                                      roll_rate_sp, att.gyro_dps[0],
                                      RATE_DT,
                                      -PID_RATE_OUT_MAX, PID_RATE_OUT_MAX,
                                      0.5f);
    float pitch_corr = PID_Calculate(&g_pid_state.pitch.rate,
                                      pid.pitch.kp_rate, pid.pitch.ki_rate, pid.pitch.kd_rate,
                                      pitch_rate_sp, att.gyro_dps[1],
                                      RATE_DT,
                                      -PID_RATE_OUT_MAX, PID_RATE_OUT_MAX,
                                      0.5f);
    float yaw_corr   = PID_Calculate(&g_pid_state.yaw.rate,
                                      pid.yaw.kp_rate, pid.yaw.ki_rate, pid.yaw.kd_rate,
                                      yaw_rate_sp, att.gyro_dps[2],
                                      RATE_DT,
                                      -PID_RATE_OUT_MAX, PID_RATE_OUT_MAX,
                                      0.5f);

    // 8) 油门基础值
    float T = rc.throttle * PWM_MAX;

    // 9) X 型混控
    float m1 = T + pitch_corr + roll_corr - yaw_corr;  // 前左
    float m2 = T + pitch_corr - roll_corr + yaw_corr;  // 前右
    float m3 = T - pitch_corr - roll_corr - yaw_corr;  // 后右
    float m4 = T - pitch_corr + roll_corr + yaw_corr;  // 后左

    // 10) 限幅
    m1 = (m1 < 0) ? 0 : (m1 > PWM_MAX ? PWM_MAX : m1);
    m2 = (m2 < 0) ? 0 : (m2 > PWM_MAX ? PWM_MAX : m2);
    m3 = (m3 < 0) ? 0 : (m3 > PWM_MAX ? PWM_MAX : m3);
    m4 = (m4 < 0) ? 0 : (m4 > PWM_MAX ? PWM_MAX : m4);

    // 11) 输出 PWM
    __HAL_TIM_SET_COMPARE(&htim3, TIM_CHANNEL_4, (uint16_t)m1);
    __HAL_TIM_SET_COMPARE(&htim1, TIM_CHANNEL_4, (uint16_t)m2);
    __HAL_TIM_SET_COMPARE(&htim1, TIM_CHANNEL_1, (uint16_t)m3);
    __HAL_TIM_SET_COMPARE(&htim2, TIM_CHANNEL_3, (uint16_t)m4);

    // 12) 控制周期 200Hz
    cycle_count++;
    wake_time += 5;
    osDelayUntil(wake_time);
  }
}
/* USER CODE END Application */
